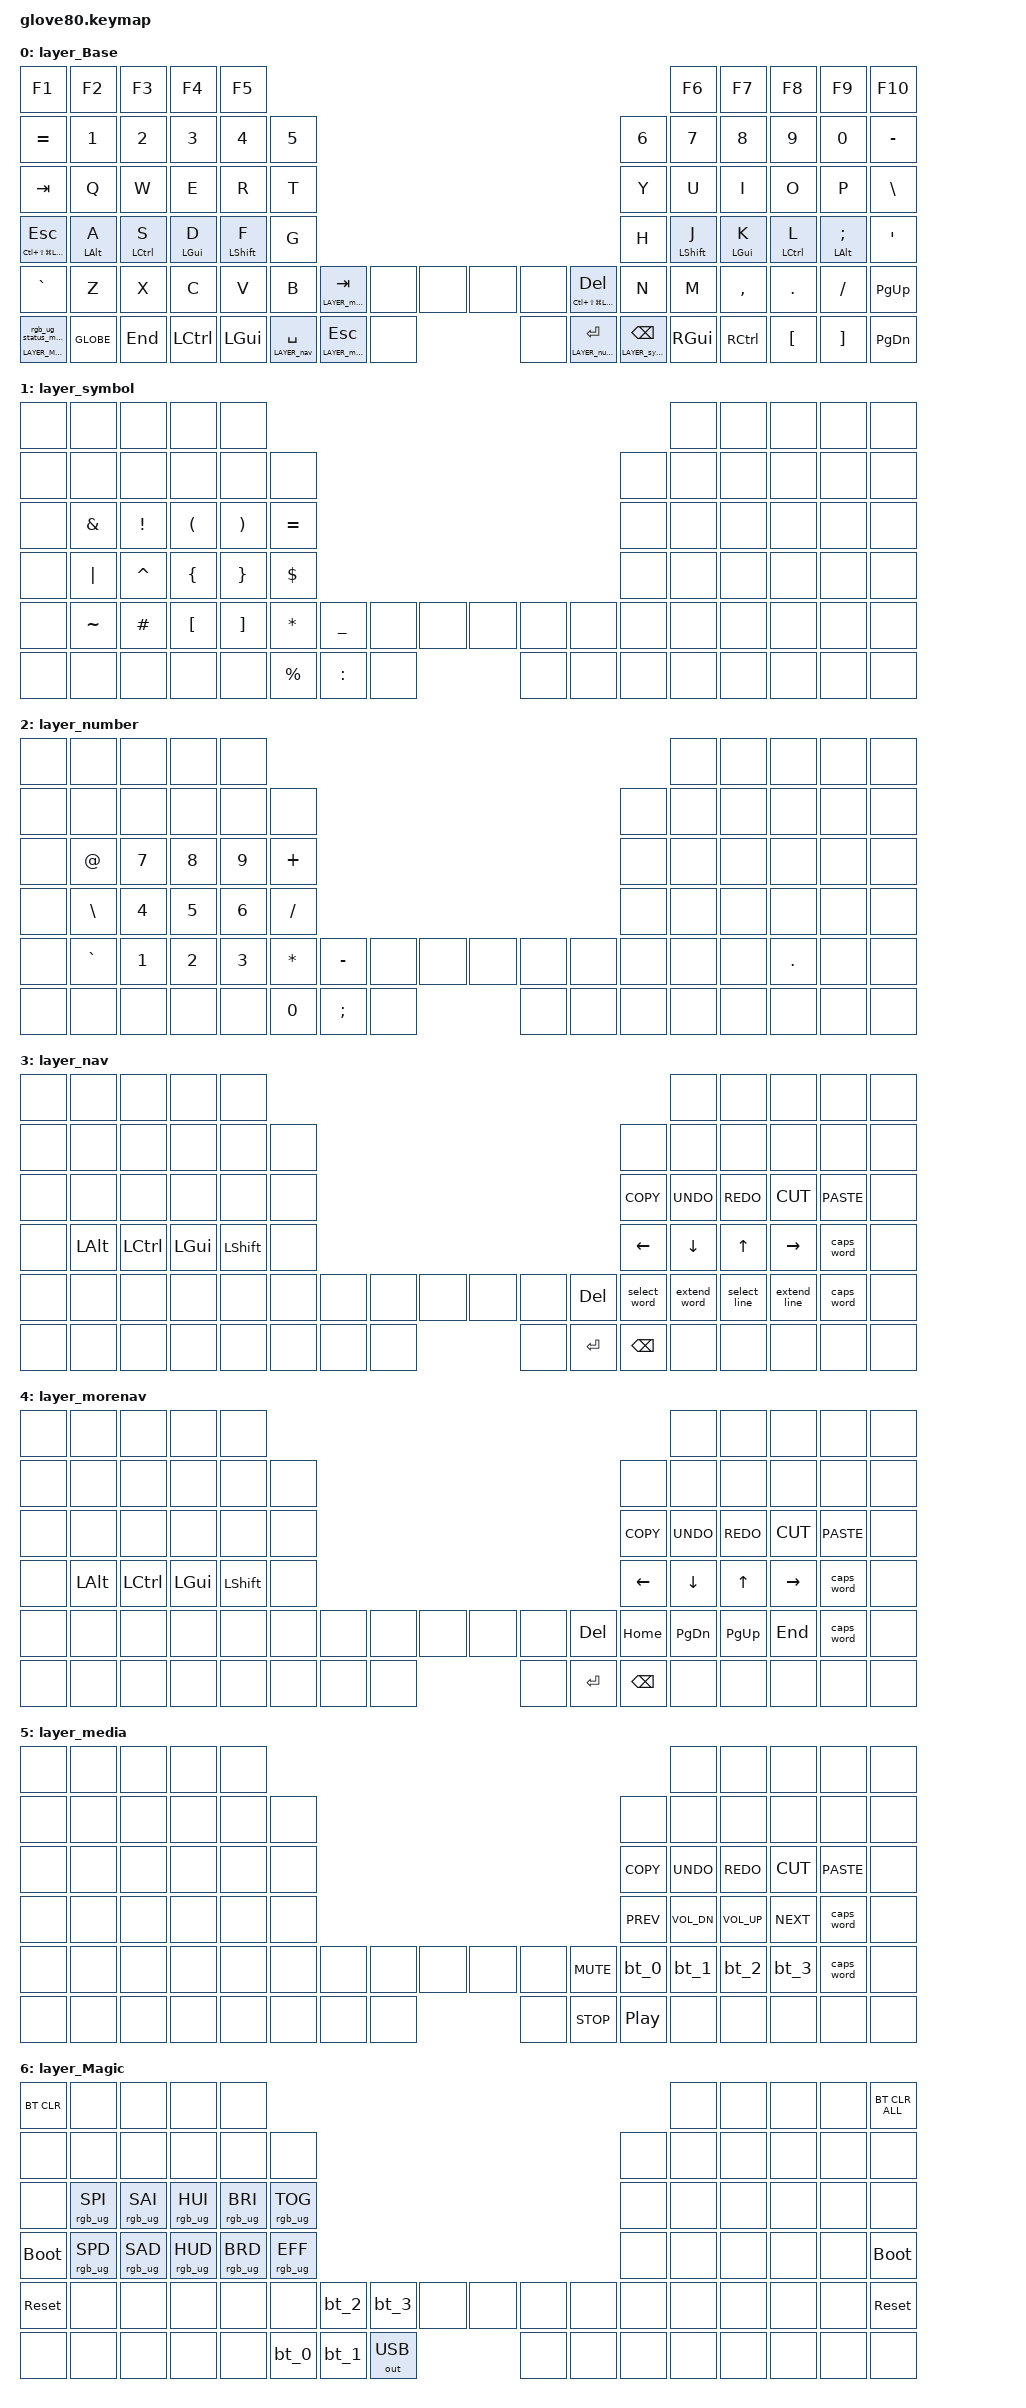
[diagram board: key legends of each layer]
/*
 * Copyright (c) 2020 The ZMK Contributors
 * Copyright (c) 2023 Innaworks Development Limited, trading as MoErgo
 *
 * SPDX-License-Identifier: MIT
 */


/* THIS FILE WAS GENERATED BY GLOVE80 LAYOUT EDITOR
 *
 * This file was generated automatically. You may or may not want to
 * edit it directly.
 */

#include <behaviors.dtsi>
/* Include all behavior includes needed */
#include <dt-bindings/zmk/outputs.h>
#include <dt-bindings/zmk/keys.h>
#include <dt-bindings/zmk/bt.h>
#include <dt-bindings/zmk/rgb.h>

/* Automatically generated layer name #define */
#define LAYER_Base 0
#define LAYER_symbol 1
#define LAYER_number 2
#define LAYER_nav 3
#define LAYER_morenav 4
#define LAYER_media 5
#define LAYER_Magic 6

/* To deal with the situation where there is no Lower layer, to keep &lower happy */
#ifndef LAYER_Lower
#define LAYER_Lower 0
#endif

/* Custom Device-tree */



/* Glove80 system behavior & macros */
/ {
    behaviors {
        // For the "layer" key, it'd nice to be able to use it as either a shift or a toggle.
        // Configure it as a tap dance, so the first tap (or hold) is a &mo and the second tap is a &to
        lower: lower {
            compatible = "zmk,behavior-tap-dance";
            label = "LAYER_TAP_DANCE";
            #binding-cells = <0>;
            tapping-term-ms = <200>;
            bindings = <&mo LAYER_Lower>, <&to LAYER_Lower>;
        };
    };
};

/ {
    macros {
        rgb_ug_status_macro: rgb_ug_status_macro {
            label = "RGB_UG_STATUS";
            compatible = "zmk,behavior-macro";
            #binding-cells = <0>;
            bindings
                = <&rgb_ug RGB_STATUS>;
        };
    };
};


/ {
#ifdef BT_DISC_CMD
    behaviors {
        bt_0: bt_0 {
            compatible = "zmk,behavior-tap-dance";
            label = "BT_0";
            #binding-cells = <0>;
            tapping-term-ms = <200>;
            bindings = <&bt_select_0>, <&bt BT_DISC 0>;
        };
        bt_1: bt_1 {
            compatible = "zmk,behavior-tap-dance";
            label = "BT_1";
            #binding-cells = <0>;
            tapping-term-ms = <200>;
            bindings = <&bt_select_1>, <&bt BT_DISC 1>;
        };
        bt_2: bt_2 {
            compatible = "zmk,behavior-tap-dance";
            label = "BT_2";
            #binding-cells = <0>;
            tapping-term-ms = <200>;
            bindings = <&bt_select_2>, <&bt BT_DISC 2>;
        };
        bt_3: bt_3 {
            compatible = "zmk,behavior-tap-dance";
            label = "BT_3";
            #binding-cells = <0>;
            tapping-term-ms = <200>;
            bindings = <&bt_select_3>, <&bt BT_DISC 3>;
        };
    };
    macros {
        bt_select_0: bt_select_0 {
            label = "BT_SELECT_0";
            compatible = "zmk,behavior-macro";
            #binding-cells = <0>;
            bindings
                = <&out OUT_BLE>,
                  <&bt BT_SEL 0>;
        };
        bt_select_1: bt_select_1 {
            label = "BT_SELECT_1";
            compatible = "zmk,behavior-macro";
            #binding-cells = <0>;
            bindings
                = <&out OUT_BLE>,
                  <&bt BT_SEL 1>;
        };
        bt_select_2: bt_select_2 {
            label = "BT_SELECT_2";
            compatible = "zmk,behavior-macro";
            #binding-cells = <0>;
            bindings
                = <&out OUT_BLE>,
                  <&bt BT_SEL 2>;
        };
        bt_select_3: bt_select_3 {
            label = "BT_SELECT_3";
            compatible = "zmk,behavior-macro";
            #binding-cells = <0>;
            bindings
                = <&out OUT_BLE>,
                  <&bt BT_SEL 3>;
        };
    };
#else
    macros {
        bt_0: bt_0 {
            label = "BT_0";
            compatible = "zmk,behavior-macro";
            #binding-cells = <0>;
            bindings
                = <&out OUT_BLE>,
                  <&bt BT_SEL 0>;
        };
        bt_1: bt_1 {
            label = "BT_1";
            compatible = "zmk,behavior-macro";
            #binding-cells = <0>;
            bindings
                = <&out OUT_BLE>,
                  <&bt BT_SEL 1>;
        };
        bt_2: bt_2 {
            label = "BT_2";
            compatible = "zmk,behavior-macro";
            #binding-cells = <0>;
            bindings
                = <&out OUT_BLE>,
                  <&bt BT_SEL 2>;
        };
        bt_3: bt_3 {
            label = "BT_3";
            compatible = "zmk,behavior-macro";
            #binding-cells = <0>;
            bindings
                = <&out OUT_BLE>,
                  <&bt BT_SEL 3>;
        };
    };
#endif
};

/ {
    behaviors {
        magic: magic {
            compatible = "zmk,behavior-hold-tap";
            label = "MAGIC_HOLD_TAP";
            #binding-cells = <2>;
            flavor = "tap-preferred";
            tapping-term-ms = <200>;
            bindings = <&mo>, <&rgb_ug_status_macro>;
        };
    };
};

/* #define for key positions */
#define POS_LH_T1 52
#define POS_LH_T2 53
#define POS_LH_T3 54
#define POS_LH_T4 69
#define POS_LH_T5 70
#define POS_LH_T6 71
#define POS_LH_C1R2 15
#define POS_LH_C1R3 27
#define POS_LH_C1R4 39
#define POS_LH_C1R5 51
#define POS_LH_C2R1 4
#define POS_LH_C2R2 14
#define POS_LH_C2R3 26
#define POS_LH_C2R4 38
#define POS_LH_C2R5 50
#define POS_LH_C2R6 68
#define POS_LH_C3R1 3
#define POS_LH_C3R2 13
#define POS_LH_C3R3 25
#define POS_LH_C3R4 37
#define POS_LH_C3R5 49
#define POS_LH_C3R6 67
#define POS_LH_C4R1 2
#define POS_LH_C4R2 12
#define POS_LH_C4R3 24
#define POS_LH_C4R4 36
#define POS_LH_C4R5 48
#define POS_LH_C4R6 66
#define POS_LH_C5R1 1
#define POS_LH_C5R2 11
#define POS_LH_C5R3 23
#define POS_LH_C5R4 35
#define POS_LH_C5R5 47
#define POS_LH_C5R6 65
#define POS_LH_C6R1 0
#define POS_LH_C6R2 10
#define POS_LH_C6R3 22
#define POS_LH_C6R4 34
#define POS_LH_C6R5 46
#define POS_LH_C6R6 64
#define POS_RH_T1 57
#define POS_RH_T2 56
#define POS_RH_T3 55
#define POS_RH_T4 74
#define POS_RH_T5 73
#define POS_RH_T6 72
#define POS_RH_C1R2 16
#define POS_RH_C1R3 28
#define POS_RH_C1R4 40
#define POS_RH_C1R5 58
#define POS_RH_C2R1 5
#define POS_RH_C2R2 17
#define POS_RH_C2R3 29
#define POS_RH_C2R4 41
#define POS_RH_C2R5 59
#define POS_RH_C2R6 75
#define POS_RH_C3R1 6
#define POS_RH_C3R2 18
#define POS_RH_C3R3 30
#define POS_RH_C3R4 42
#define POS_RH_C3R5 60
#define POS_RH_C3R6 76
#define POS_RH_C4R1 7
#define POS_RH_C4R2 19
#define POS_RH_C4R3 31
#define POS_RH_C4R4 43
#define POS_RH_C4R5 61
#define POS_RH_C4R6 77
#define POS_RH_C5R1 8
#define POS_RH_C5R2 20
#define POS_RH_C5R3 32
#define POS_RH_C5R4 44
#define POS_RH_C5R5 62
#define POS_RH_C5R6 78
#define POS_RH_C6R1 9
#define POS_RH_C6R2 21
#define POS_RH_C6R3 33
#define POS_RH_C6R4 45
#define POS_RH_C6R5 63
#define POS_RH_C6R6 79

/* Custom Defined Behaviors */
/ {
#define HYPER LC(LS(LG(LALT)))

// NOTE: Use the `#define` settings below to customize this keymap!
// For example, here are the main optional features you can enable:
// #define DIFFICULTY_LEVEL  4 // 0:custom, 1:easy -> 5:hard (see below)
// TIP: Add more setting overrides here instead of editing them below.

//////////////////////////////////////////////////////////////////////////////
//
// Advanced Home Row Mods (HRM) Example based on
// Sunaku's Keymap v35 -- "Glorious Engrammer"
// - https://github.com/sunaku/glove80-keymaps
//
//////////////////////////////////////////////////////////////////////////////

//
// DIFFICULTY_LEVEL specifies your level of expertise with this keymap.
// It's meant to help newcomers gradually work their way up to mastery.
// You can disable this setting by omitting it or assigning a `0` zero.
//
// #define DIFFICULTY_LEVEL 0 // custom (see defaults below)
// #define DIFFICULTY_LEVEL 1 // novice (500ms)
// #define DIFFICULTY_LEVEL 2 // slower (400ms)
// #define DIFFICULTY_LEVEL 3 // normal (300ms)
// #define DIFFICULTY_LEVEL 4 // faster (200ms)
// #define DIFFICULTY_LEVEL 5 // expert (100ms)
//
// #if defined(DIFFICULTY_LEVEL) && DIFFICULTY_LEVEL > 0
// #define DIFFICULTY_THRESHOLD ((6-DIFFICULTY_LEVEL)*100)
// #ifndef HOMEY_HOLDING_TIME
// #define HOMEY_HOLDING_TIME DIFFICULTY_THRESHOLD
// #endif
// #ifndef INDEX_HOLDING_TIME
// #define INDEX_HOLDING_TIME DIFFICULTY_THRESHOLD
// #endif
// #endif

behaviors {

    //////////////////////////////////////////////////////////////////////////
    //
    // Miryoku layers and home row mods (ported from my QMK endgame)
    // - https://sunaku.github.io/home-row-mods.html#porting-to-zmk
    // - https://github.com/urob/zmk-config#timeless-homerow-mods
    //
    //////////////////////////////////////////////////////////////////////////

    //
    // HOMEY_HOLDING_TYPE defines the flavor of ZMK hold-tap behavior to use
    // for the pinky, ring, and middle fingers (which are assigned to Super,
    // Alt, and Ctrl respectively in the Miryoku system) on home row keys.
    //
    #ifndef HOMEY_HOLDING_TYPE
    #define HOMEY_HOLDING_TYPE "tap-preferred"
    #endif

    //
    // HOMEY_HOLDING_TIME defines how long you need to hold (milliseconds)
    // home row mod keys in order to send their modifiers to the computer
    // (i.e. "register" them) for mod-click mouse usage (e.g. Ctrl-Click).
    //
    #ifndef HOMEY_HOLDING_TIME
    #define HOMEY_HOLDING_TIME 270 // TAPPING_TERM + ALLOW_CROSSOVER_AFTER
    #endif

    //
    // HOMEY_STREAK_DECAY defines how long you need to wait (milliseconds)
    // after typing before you can use home row mods again.  It prevents
    // unintended activation of home row mods when you're actively typing.
    //
    #ifndef HOMEY_STREAK_DECAY
    #define HOMEY_STREAK_DECAY 250
    #endif

    //
    // HOMEY_REPEAT_DECAY defines how much time you have left (milliseconds)
    // after tapping a key to hold it again in order to make it auto-repeat.
    //
    #ifndef HOMEY_REPEAT_DECAY
    #define HOMEY_REPEAT_DECAY 300 // "tap then hold" for key auto-repeat
    #endif

    //
    // INDEX_HOLDING_TYPE defines the flavor of ZMK hold-tap behavior to use
    // for index fingers (which Miryoku assigns to Shift) on home row keys.
    //
    #ifndef INDEX_HOLDING_TYPE
    #define INDEX_HOLDING_TYPE "tap-preferred"
    #endif

    //
    // INDEX_HOLDING_TIME defines how long you need to hold (milliseconds)
    // index finger keys in order to send their modifiers to the computer
    // (i.e. "register" them) for mod-click mouse usage (e.g. Shift-Click).
    //
    #ifndef INDEX_HOLDING_TIME
    #define INDEX_HOLDING_TIME 170
    #endif

    //
    // INDEX_STREAK_DECAY defines how long you need to wait (milliseconds)
    // after typing before you can use home row mods again.  It prevents
    // unintended activation of home row mods when you're actively typing.
    //
    #ifndef INDEX_STREAK_DECAY
    #define INDEX_STREAK_DECAY 150
    #endif

    //
    // INDEX_REPEAT_DECAY defines how much time you have left (milliseconds)
    // after tapping a key to hold it again in order to make it auto-repeat.
    //
    #ifndef INDEX_REPEAT_DECAY
    #define INDEX_REPEAT_DECAY 300 // "tap then hold" for key auto-repeat
    #endif

    //
    // THUMB_HOLDING_TYPE defines the flavor of ZMK hold-tap behavior to use
    // for the thumbs (which are assigned to 6 layers in the Miryoku system).
    //
    // NOTE: The "balanced" flavor of ZMK hold-tap provides instant modifier
    // activation for the symbol layer (if the tapped symbol key is released
    // while the thumb layer key is still held down) for quicker programming.
    //
    #ifndef THUMB_HOLDING_TYPE
    #define THUMB_HOLDING_TYPE "balanced"
    #endif

    //
    // THUMB_HOLDING_TIME defines how long you need to hold (milliseconds)
    // a thumb key to activate a layer.  Shorter holds are treated as taps.
    //
    #ifndef THUMB_HOLDING_TIME
    #define THUMB_HOLDING_TIME 200
    #endif

    //
    // THUMB_REPEAT_DECAY defines how much time you have left (milliseconds)
    // after tapping a key to hold it again in order to make it auto-repeat.
    //
    #ifndef THUMB_REPEAT_DECAY
    #define THUMB_REPEAT_DECAY 300 // "tap then hold" for key auto-repeat
    #endif

    //
    // SPACE_HOLDING_TYPE defines the flavor of ZMK hold-tap behavior to use
    // for spacebar (assigned to the right thumb's home position by default).
    //
    // NOTE: The "balanced" flavor of ZMK hold-tap provides instant modifier
    // activation for the symbol layer (if the tapped symbol key is released
    // while the thumb layer key is still held down) for quicker programming.
    //
    #ifndef SPACE_HOLDING_TYPE
    #define SPACE_HOLDING_TYPE THUMB_HOLDING_TYPE
    #endif

    //
    // SPACE_HOLDING_TIME defines how long you need to hold (milliseconds)
    // the space thumb key to activate.  Shorter holds are treated as taps.
    //
    #ifndef SPACE_HOLDING_TIME
    #define SPACE_HOLDING_TIME THUMB_HOLDING_TIME
    #endif

    //
    // SPACE_REPEAT_DECAY defines how much time you have left (milliseconds)
    // after tapping a key to hold it again in order to make it auto-repeat.
    //
    #ifndef SPACE_REPEAT_DECAY
    #define SPACE_REPEAT_DECAY 175
    #endif


    //
    // Glove80 key positions index for positional hold-tap
    // - https://discord.com/channels/877392805654306816/937645688244826154/1066713913351221248
    // - https://media.discordapp.net/attachments/937645688244826154/1066713913133121556/image.png
    //
    // |------------------------|------------------------|
    // | LEFT_HAND_KEYS         |        RIGHT_HAND_KEYS |
    // |                        |                        |
    // |  0  1  2  3  4         |          5  6  7  8  9 |
    // | 10 11 12 13 14 15      |      16 17 18 19 20 21 |
    // | 22 23 24 25 26 27      |      28 29 30 31 32 33 |
    // | 34 35 36 37 38 39      |      40 41 42 43 44 45 |
    // | 46 47 48 49 50 51      |      58 59 60 61 62 63 |
    // | 64 65 66 67 68         |         75 76 77 78 79 |
    // |                69 52   |   57 74                |
    // |                 70 53  |  56 73                 |
    // |                  71 54 | 55 72                  |
    // |------------------------|------------------------|
    //
    #define LEFT_HAND_KEYS      \
          0  1  2  3  4         \
         10 11 12 13 14 15      \
         22 23 24 25 26 27      \
         34 35 36 37 38 39      \
         46 47 48 49 50 51      \
         64 65 66 67 68
    #define RIGHT_HAND_KEYS     \
                                           5  6  7  8  9 \
                                       16 17 18 19 20 21 \
                                       28 29 30 31 32 33 \
                                       40 41 42 43 44 45 \
                                       58 59 60 61 62 63 \
                                          75 76 77 78 79
    #define THUMB_KEYS          \
                        69 52       57 74                \
                         70 53     56 73                 \
                          71 54   55 72

    //
    // Home row mods with per-finger configuration settings
    //
    #ifndef PINKY_HOLDING_TYPE
    #define PINKY_HOLDING_TYPE HOMEY_HOLDING_TYPE
    #endif
    #ifndef PINKY_HOLDING_TIME
    #define PINKY_HOLDING_TIME HOMEY_HOLDING_TIME
    #endif
    #ifndef PINKY_STREAK_DECAY
    #define PINKY_STREAK_DECAY HOMEY_STREAK_DECAY
    #endif
    #ifndef PINKY_REPEAT_DECAY
    #define PINKY_REPEAT_DECAY HOMEY_REPEAT_DECAY
    #endif
    #ifndef RING1_HOLDING_TYPE
    #define RING1_HOLDING_TYPE HOMEY_HOLDING_TYPE
    #endif
    #ifndef RING1_HOLDING_TIME
    #define RING1_HOLDING_TIME HOMEY_HOLDING_TIME
    #endif
    #ifndef RING1_STREAK_DECAY
    #define RING1_STREAK_DECAY HOMEY_STREAK_DECAY
    #endif
    #ifndef RING1_REPEAT_DECAY
    #define RING1_REPEAT_DECAY HOMEY_REPEAT_DECAY
    #endif
    #ifndef RING2_HOLDING_TYPE
    #define RING2_HOLDING_TYPE HOMEY_HOLDING_TYPE
    #endif
    #ifndef RING2_HOLDING_TIME
    #define RING2_HOLDING_TIME HOMEY_HOLDING_TIME
    #endif
    #ifndef RING2_STREAK_DECAY
    #define RING2_STREAK_DECAY HOMEY_STREAK_DECAY
    #endif
    #ifndef RING2_REPEAT_DECAY
    #define RING2_REPEAT_DECAY HOMEY_REPEAT_DECAY
    #endif
    #ifndef MIDDY_HOLDING_TYPE
    #define MIDDY_HOLDING_TYPE HOMEY_HOLDING_TYPE
    #endif
    #ifndef MIDDY_HOLDING_TIME
    #define MIDDY_HOLDING_TIME HOMEY_HOLDING_TIME
    #endif
    #ifndef MIDDY_STREAK_DECAY
    #define MIDDY_STREAK_DECAY HOMEY_STREAK_DECAY
    #endif
    #ifndef MIDDY_REPEAT_DECAY
    #define MIDDY_REPEAT_DECAY HOMEY_REPEAT_DECAY
    #endif
    #ifndef INDEX_HOLDING_TYPE
    #define INDEX_HOLDING_TYPE HOMEY_HOLDING_TYPE
    #endif
    #ifndef INDEX_HOLDING_TIME
    #define INDEX_HOLDING_TIME HOMEY_HOLDING_TIME
    #endif
    #ifndef INDEX_STREAK_DECAY
    #define INDEX_STREAK_DECAY HOMEY_STREAK_DECAY
    #endif
    #ifndef INDEX_REPEAT_DECAY
    #define INDEX_REPEAT_DECAY HOMEY_REPEAT_DECAY
    #endif
    #ifndef LEFT_PINKY_HOLDING_TYPE
    #define LEFT_PINKY_HOLDING_TYPE PINKY_HOLDING_TYPE
    #endif
    #ifndef LEFT_PINKY_HOLDING_TIME
    #define LEFT_PINKY_HOLDING_TIME PINKY_HOLDING_TIME
    #endif
    #ifndef LEFT_PINKY_STREAK_DECAY
    #define LEFT_PINKY_STREAK_DECAY PINKY_STREAK_DECAY
    #endif
    #ifndef LEFT_PINKY_REPEAT_DECAY
    #define LEFT_PINKY_REPEAT_DECAY PINKY_REPEAT_DECAY
    #endif
    left_pinky: homey_left_pinky {
        compatible = "zmk,behavior-hold-tap";
        flavor = LEFT_PINKY_HOLDING_TYPE;
        hold-trigger-key-positions = <RIGHT_HAND_KEYS THUMB_KEYS>;
        hold-trigger-on-release; // wait for other home row mods
        tapping-term-ms = <LEFT_PINKY_HOLDING_TIME>;
        quick-tap-ms = <LEFT_PINKY_REPEAT_DECAY>;
        require-prior-idle-ms = <LEFT_PINKY_STREAK_DECAY>;
        #binding-cells = <2>;
        bindings = <&kp>, <&kp>;
    };
    #ifndef RIGHT_PINKY_HOLDING_TYPE
    #define RIGHT_PINKY_HOLDING_TYPE PINKY_HOLDING_TYPE
    #endif
    #ifndef RIGHT_PINKY_HOLDING_TIME
    #define RIGHT_PINKY_HOLDING_TIME PINKY_HOLDING_TIME
    #endif
    #ifndef RIGHT_PINKY_STREAK_DECAY
    #define RIGHT_PINKY_STREAK_DECAY PINKY_STREAK_DECAY
    #endif
    #ifndef RIGHT_PINKY_REPEAT_DECAY
    #define RIGHT_PINKY_REPEAT_DECAY PINKY_REPEAT_DECAY
    #endif
    right_pinky: homey_right_pinky {
        compatible = "zmk,behavior-hold-tap";
        flavor = RIGHT_PINKY_HOLDING_TYPE;
        hold-trigger-key-positions = <LEFT_HAND_KEYS THUMB_KEYS>;
        hold-trigger-on-release; // wait for other home row mods
        tapping-term-ms = <RIGHT_PINKY_HOLDING_TIME>;
        quick-tap-ms = <RIGHT_PINKY_REPEAT_DECAY>;
        require-prior-idle-ms = <RIGHT_PINKY_STREAK_DECAY>;
        #binding-cells = <2>;
        bindings = <&kp>, <&kp>;
    };
    #ifndef LEFT_RING1_HOLDING_TYPE
    #define LEFT_RING1_HOLDING_TYPE RING1_HOLDING_TYPE
    #endif
    #ifndef LEFT_RING1_HOLDING_TIME
    #define LEFT_RING1_HOLDING_TIME RING1_HOLDING_TIME
    #endif
    #ifndef LEFT_RING1_STREAK_DECAY
    #define LEFT_RING1_STREAK_DECAY RING1_STREAK_DECAY
    #endif
    #ifndef LEFT_RING1_REPEAT_DECAY
    #define LEFT_RING1_REPEAT_DECAY RING1_REPEAT_DECAY
    #endif
    left_ring1: homey_left_ring1 {
        compatible = "zmk,behavior-hold-tap";
        flavor = LEFT_RING1_HOLDING_TYPE;
        hold-trigger-key-positions = <RIGHT_HAND_KEYS THUMB_KEYS>;
        hold-trigger-on-release; // wait for other home row mods
        tapping-term-ms = <LEFT_RING1_HOLDING_TIME>;
        quick-tap-ms = <LEFT_RING1_REPEAT_DECAY>;
        require-prior-idle-ms = <LEFT_RING1_STREAK_DECAY>;
        #binding-cells = <2>;
        bindings = <&kp>, <&kp>;
    };
    #ifndef RIGHT_RING1_HOLDING_TYPE
    #define RIGHT_RING1_HOLDING_TYPE RING1_HOLDING_TYPE
    #endif
    #ifndef RIGHT_RING1_HOLDING_TIME
    #define RIGHT_RING1_HOLDING_TIME RING1_HOLDING_TIME
    #endif
    #ifndef RIGHT_RING1_STREAK_DECAY
    #define RIGHT_RING1_STREAK_DECAY RING1_STREAK_DECAY
    #endif
    #ifndef RIGHT_RING1_REPEAT_DECAY
    #define RIGHT_RING1_REPEAT_DECAY RING1_REPEAT_DECAY
    #endif
    right_ring1: homey_right_ring1 {
        compatible = "zmk,behavior-hold-tap";
        flavor = RIGHT_RING1_HOLDING_TYPE;
        hold-trigger-key-positions = <LEFT_HAND_KEYS THUMB_KEYS>;
        hold-trigger-on-release; // wait for other home row mods
        tapping-term-ms = <RIGHT_RING1_HOLDING_TIME>;
        quick-tap-ms = <RIGHT_RING1_REPEAT_DECAY>;
        require-prior-idle-ms = <RIGHT_RING1_STREAK_DECAY>;
        #binding-cells = <2>;
        bindings = <&kp>, <&kp>;
    };
    #ifndef LEFT_RING2_HOLDING_TYPE
    #define LEFT_RING2_HOLDING_TYPE RING2_HOLDING_TYPE
    #endif
    #ifndef LEFT_RING2_HOLDING_TIME
    #define LEFT_RING2_HOLDING_TIME RING2_HOLDING_TIME
    #endif
    #ifndef LEFT_RING2_STREAK_DECAY
    #define LEFT_RING2_STREAK_DECAY RING2_STREAK_DECAY
    #endif
    #ifndef LEFT_RING2_REPEAT_DECAY
    #define LEFT_RING2_REPEAT_DECAY RING2_REPEAT_DECAY
    #endif
    left_ring2: homey_left_ring2 {
        compatible = "zmk,behavior-hold-tap";
        flavor = LEFT_RING2_HOLDING_TYPE;
        hold-trigger-key-positions = <RIGHT_HAND_KEYS THUMB_KEYS>;
        hold-trigger-on-release; // wait for other home row mods
        tapping-term-ms = <LEFT_RING2_HOLDING_TIME>;
        quick-tap-ms = <LEFT_RING2_REPEAT_DECAY>;
        require-prior-idle-ms = <LEFT_RING2_STREAK_DECAY>;
        #binding-cells = <2>;
        bindings = <&kp>, <&kp>;
    };
    #ifndef RIGHT_RING2_HOLDING_TYPE
    #define RIGHT_RING2_HOLDING_TYPE RING2_HOLDING_TYPE
    #endif
    #ifndef RIGHT_RING2_HOLDING_TIME
    #define RIGHT_RING2_HOLDING_TIME RING2_HOLDING_TIME
    #endif
    #ifndef RIGHT_RING2_STREAK_DECAY
    #define RIGHT_RING2_STREAK_DECAY RING2_STREAK_DECAY
    #endif
    #ifndef RIGHT_RING2_REPEAT_DECAY
    #define RIGHT_RING2_REPEAT_DECAY RING2_REPEAT_DECAY
    #endif
    right_ring2: homey_right_ring2 {
        compatible = "zmk,behavior-hold-tap";
        flavor = RIGHT_RING2_HOLDING_TYPE;
        hold-trigger-key-positions = <LEFT_HAND_KEYS THUMB_KEYS>;
        hold-trigger-on-release; // wait for other home row mods
        tapping-term-ms = <RIGHT_RING2_HOLDING_TIME>;
        quick-tap-ms = <RIGHT_RING2_REPEAT_DECAY>;
        require-prior-idle-ms = <RIGHT_RING2_STREAK_DECAY>;
        #binding-cells = <2>;
        bindings = <&kp>, <&kp>;
    };
    #ifndef LEFT_MIDDY_HOLDING_TYPE
    #define LEFT_MIDDY_HOLDING_TYPE MIDDY_HOLDING_TYPE
    #endif
    #ifndef LEFT_MIDDY_HOLDING_TIME
    #define LEFT_MIDDY_HOLDING_TIME MIDDY_HOLDING_TIME
    #endif
    #ifndef LEFT_MIDDY_STREAK_DECAY
    #define LEFT_MIDDY_STREAK_DECAY MIDDY_STREAK_DECAY
    #endif
    #ifndef LEFT_MIDDY_REPEAT_DECAY
    #define LEFT_MIDDY_REPEAT_DECAY MIDDY_REPEAT_DECAY
    #endif
    left_middy: homey_left_middy {
        compatible = "zmk,behavior-hold-tap";
        flavor = LEFT_MIDDY_HOLDING_TYPE;
        hold-trigger-key-positions = <RIGHT_HAND_KEYS THUMB_KEYS>;
        hold-trigger-on-release; // wait for other home row mods
        tapping-term-ms = <LEFT_MIDDY_HOLDING_TIME>;
        quick-tap-ms = <LEFT_MIDDY_REPEAT_DECAY>;
        require-prior-idle-ms = <LEFT_MIDDY_STREAK_DECAY>;
        #binding-cells = <2>;
        bindings = <&kp>, <&kp>;
    };
    #ifndef RIGHT_MIDDY_HOLDING_TYPE
    #define RIGHT_MIDDY_HOLDING_TYPE MIDDY_HOLDING_TYPE
    #endif
    #ifndef RIGHT_MIDDY_HOLDING_TIME
    #define RIGHT_MIDDY_HOLDING_TIME MIDDY_HOLDING_TIME
    #endif
    #ifndef RIGHT_MIDDY_STREAK_DECAY
    #define RIGHT_MIDDY_STREAK_DECAY MIDDY_STREAK_DECAY
    #endif
    #ifndef RIGHT_MIDDY_REPEAT_DECAY
    #define RIGHT_MIDDY_REPEAT_DECAY MIDDY_REPEAT_DECAY
    #endif
    right_middy: homey_right_middy {
        compatible = "zmk,behavior-hold-tap";
        flavor = RIGHT_MIDDY_HOLDING_TYPE;
        hold-trigger-key-positions = <LEFT_HAND_KEYS THUMB_KEYS>;
        hold-trigger-on-release; // wait for other home row mods
        tapping-term-ms = <RIGHT_MIDDY_HOLDING_TIME>;
        quick-tap-ms = <RIGHT_MIDDY_REPEAT_DECAY>;
        require-prior-idle-ms = <RIGHT_MIDDY_STREAK_DECAY>;
        #binding-cells = <2>;
        bindings = <&kp>, <&kp>;
    };
    #ifndef LEFT_INDEX_HOLDING_TYPE
    #define LEFT_INDEX_HOLDING_TYPE INDEX_HOLDING_TYPE
    #endif
    #ifndef LEFT_INDEX_HOLDING_TIME
    #define LEFT_INDEX_HOLDING_TIME INDEX_HOLDING_TIME
    #endif
    #ifndef LEFT_INDEX_STREAK_DECAY
    #define LEFT_INDEX_STREAK_DECAY INDEX_STREAK_DECAY
    #endif
    #ifndef LEFT_INDEX_REPEAT_DECAY
    #define LEFT_INDEX_REPEAT_DECAY INDEX_REPEAT_DECAY
    #endif
    left_index: homey_left_index {
        compatible = "zmk,behavior-hold-tap";
        flavor = LEFT_INDEX_HOLDING_TYPE;
        hold-trigger-key-positions = <RIGHT_HAND_KEYS THUMB_KEYS>;
        hold-trigger-on-release; // wait for other home row mods
        tapping-term-ms = <LEFT_INDEX_HOLDING_TIME>;
        quick-tap-ms = <LEFT_INDEX_REPEAT_DECAY>;
        require-prior-idle-ms = <LEFT_INDEX_STREAK_DECAY>;
        #binding-cells = <2>;
        bindings = <&kp>, <&kp>;
    };
    #ifndef RIGHT_INDEX_HOLDING_TYPE
    #define RIGHT_INDEX_HOLDING_TYPE INDEX_HOLDING_TYPE
    #endif
    #ifndef RIGHT_INDEX_HOLDING_TIME
    #define RIGHT_INDEX_HOLDING_TIME INDEX_HOLDING_TIME
    #endif
    #ifndef RIGHT_INDEX_STREAK_DECAY
    #define RIGHT_INDEX_STREAK_DECAY INDEX_STREAK_DECAY
    #endif
    #ifndef RIGHT_INDEX_REPEAT_DECAY
    #define RIGHT_INDEX_REPEAT_DECAY INDEX_REPEAT_DECAY
    #endif
    right_index: homey_right_index {
        compatible = "zmk,behavior-hold-tap";
        flavor = RIGHT_INDEX_HOLDING_TYPE;
        hold-trigger-key-positions = <LEFT_HAND_KEYS THUMB_KEYS>;
        hold-trigger-on-release; // wait for other home row mods
        tapping-term-ms = <RIGHT_INDEX_HOLDING_TIME>;
        quick-tap-ms = <RIGHT_INDEX_REPEAT_DECAY>;
        require-prior-idle-ms = <RIGHT_INDEX_STREAK_DECAY>;
        #binding-cells = <2>;
        bindings = <&kp>, <&kp>;
    };

    //
    // Thumb cluster hold-tap keys for Miryoku layers
    //
    thumb: thumb_layer_access {
        compatible = "zmk,behavior-hold-tap";
        flavor = THUMB_HOLDING_TYPE;
        tapping-term-ms = <THUMB_HOLDING_TIME>;
        quick-tap-ms = <THUMB_REPEAT_DECAY>; // enable repeat
        #binding-cells = <2>;
        bindings = <&mo>, <&kp>;
    };
    thumb_space: thumb_layer_access_spacebar {
        compatible = "zmk,behavior-hold-tap";
        flavor = SPACE_HOLDING_TYPE;
        tapping-term-ms = <SPACE_HOLDING_TIME>;
        quick-tap-ms = <SPACE_REPEAT_DECAY>; // enable repeat
        #binding-cells = <2>;
        bindings = <&mo>, <&kp>;
    };
};

macros {
    //////////////////////////////////////////////////////////////////////////
    //
    // Approximation of Pascal Getreuer's Select Word macro from QMK
    // - https://getreuer.info/posts/keyboards/select-word/index.html
    //
    //////////////////////////////////////////////////////////////////////////

    //
    // delay (in milliseconds) to wait between keypresses in the macros
    //
    #ifndef SELECT_WORD_WAIT
    #define SELECT_WORD_WAIT 1
    #endif

    //
    // delay (in milliseconds) to keep a keypress held down before releasing it
    //
    #ifndef SELECT_WORD_TAP
    #define SELECT_WORD_TAP 1
    #endif

    //
    // select a word (jumps to next word upon each successive invocation)
    // normal press goes to the right, press with shift to go to the left
    //
    select_word: select_word {
        compatible = "zmk,behavior-mod-morph";
        #binding-cells = <0>;
        bindings = <&select_word_right>, <&select_word_left>;
        mods = <(MOD_LSFT|MOD_RSFT)>;
    };
    ZMK_MACRO(select_word_right,
        wait-ms = <SELECT_WORD_WAIT>;
        tap-ms = <SELECT_WORD_TAP>;
        bindings = <&kp RIGHT &kp LA(RIGHT) &kp LA(LEFT) &kp LA(LS(RIGHT))>;
    )
    ZMK_MACRO(select_word_left,
        wait-ms = <SELECT_WORD_WAIT>;
        tap-ms = <SELECT_WORD_TAP>;
        bindings = <&kp LEFT &kp LA(LEFT) &kp LA(RIGHT) &kp LA(LS(LEFT))>;
    )

    //
    // extend current selection by one word
    // normal press goes to the right, press with shift to go to the left
    //
    extend_word: extend_word {
        compatible = "zmk,behavior-mod-morph";
        #binding-cells = <0>;
        bindings = <&extend_word_right>, <&extend_word_left>;
        mods = <(MOD_LSFT|MOD_RSFT)>;
    };
    ZMK_MACRO(extend_word_right,
        wait-ms = <SELECT_WORD_WAIT>;
        tap-ms = <SELECT_WORD_TAP>;
        bindings = <&kp LA(LS(RIGHT))>;
    )
    ZMK_MACRO(extend_word_left,
        wait-ms = <SELECT_WORD_WAIT>;
        tap-ms = <SELECT_WORD_TAP>;
        bindings = <&kp LA(LS(LEFT))>;
    )

    //
    // select current line
    // normal press goes down, press with shift to go up
    //
    select_line: select_line {
        compatible = "zmk,behavior-mod-morph";
        #binding-cells = <0>;
        bindings = <&select_line_right>, <&select_line_left>;
        mods = <(MOD_LSFT|MOD_RSFT)>;
    };
    ZMK_MACRO(select_line_right,
        wait-ms = <SELECT_WORD_WAIT>;
        tap-ms = <SELECT_WORD_TAP>;
        bindings = <&kp RIGHT &kp RIGHT &kp LG(LEFT) &kp LS(LG(RIGHT))>;
    )
    ZMK_MACRO(select_line_left,
        wait-ms = <SELECT_WORD_WAIT>;
        tap-ms = <SELECT_WORD_TAP>;
        bindings = <&kp LEFT &kp LEFT &kp LG(RIGHT) &kp LS(LG(LEFT))>;
    )

    //
    // extend current selection by one line
    // normal press goes down, press with shift to go up
    //
    extend_line: extend_line {
        compatible = "zmk,behavior-mod-morph";
        #binding-cells = <0>;
        bindings = <&extend_line_right>, <&extend_line_left>;
        mods = <(MOD_LSFT|MOD_RSFT)>;
    };
    ZMK_MACRO(extend_line_right,
        wait-ms = <SELECT_WORD_WAIT>;
        tap-ms = <SELECT_WORD_TAP>;
        bindings = <&kp LS(DOWN) &kp LS(LG(RIGHT))>;
    )
    ZMK_MACRO(extend_line_left,
        wait-ms = <SELECT_WORD_WAIT>;
        tap-ms = <SELECT_WORD_TAP>;
        bindings = <&kp LS(UP) &kp LS(LG(LEFT))>;
    )
};

};

/* Automatically generated macro definitions */
/ {
    macros {
    
    };
};

/* Automatically generated keymap */
/ {
    keymap {
        compatible = "zmk,keymap";


        layer_Base {
            bindings = <
               &kp F1              &kp F2               &kp F3              &kp F4               &kp F5                                                                                                                                                                  &kp F6               &kp F7                &kp F8                  &kp F9    &kp F10
            &kp EQUAL              &kp N1               &kp N2              &kp N3               &kp N4  &kp N5                                                                                                                                    &kp N6                &kp N7               &kp N8                &kp N9                  &kp N0  &kp MINUS
              &kp TAB               &kp Q                &kp W               &kp E                &kp R   &kp T                                                                                                                                     &kp Y                 &kp U                &kp I                 &kp O                   &kp P   &kp BSLH
        &mt HYPER ESC  &left_pinky LALT A  &left_ring1 LCTRL S  &left_middy LGUI D  &left_index LSHFT F   &kp G                                                                                                                                     &kp H  &right_index LSHFT J  &right_middy LGUI K  &right_ring1 LCTRL L  &right_pinky LALT SEMI    &kp SQT
            &kp GRAVE               &kp Z                &kp X               &kp C                &kp V   &kp B        &thumb LAYER_media TAB                     &none   &none   &none                      &none               &mt HYPER DELETE   &kp N                 &kp M            &kp COMMA               &kp DOT                &kp FSLH  &kp PG_UP
 &magic LAYER_Magic 0           &kp GLOBE              &kp END           &kp LCTRL             &kp LGUI          &thumb_space LAYER_nav SPACE  &thumb LAYER_morenav ESC   &none   &none  &thumb LAYER_number ENTER  &thumb LAYER_symbol BACKSPACE                      &kp RGUI            &kp RCTRL              &kp LBKT                &kp RBKT  &kp PG_DN
            >;
        };

        layer_symbol {
            bindings = <
  &none      &none      &none     &none     &none                                                                            &none   &none   &none   &none   &none
  &none      &none      &none     &none     &none      &none                                                         &none   &none   &none   &none   &none   &none
  &none   &kp AMPS   &kp EXCL  &kp LPAR  &kp RPAR  &kp EQUAL                                                         &none   &none   &none   &none   &none   &none
  &none   &kp PIPE  &kp CARET  &kp LBRC  &kp RBRC   &kp DLLR                                                         &none   &none   &none   &none   &none   &none
  &none  &kp TILDE   &kp HASH  &kp LBKT  &kp RBKT   &kp STAR  &kp UNDER      &none   &none   &none   &none   &none   &none   &none   &none   &none   &none   &none
  &none      &none      &none     &none     &none             &kp PRCNT  &kp COLON   &none   &none   &none   &none           &none   &none   &none   &none   &none
            >;
        };

        layer_number {
            bindings = <
  &none      &none   &none   &none   &none                                                                          &none   &none    &none   &none   &none
  &none      &none   &none   &none   &none     &none                                                        &none   &none   &none    &none   &none   &none
  &none     &kp AT  &kp N7  &kp N8  &kp N9  &kp PLUS                                                        &none   &none   &none    &none   &none   &none
  &none   &kp BSLH  &kp N4  &kp N5  &kp N6  &kp FSLH                                                        &none   &none   &none    &none   &none   &none
  &none  &kp GRAVE  &kp N1  &kp N2  &kp N3  &kp STAR  &kp MINUS     &none   &none   &none   &none   &none   &none   &none   &none  &kp DOT   &none   &none
  &none      &none   &none   &none   &none               &kp N0  &kp SEMI   &none   &none   &none   &none           &none   &none    &none   &none   &none
            >;
        };

        layer_nav {
            bindings = <
  &none     &none      &none     &none      &none                                                                                  &none         &none         &none        &none   &none
  &none     &none      &none     &none      &none   &none                                                            &none         &none         &none         &none        &none   &none
  &none     &none      &none     &none      &none   &none                                                       &kp K_COPY    &kp K_UNDO    &kp K_REDO     &kp K_CUT  &kp K_PASTE   &none
  &none  &kp LALT  &kp LCTRL  &kp LGUI  &kp LSHFT   &none                                                         &kp LEFT      &kp DOWN        &kp UP     &kp RIGHT   &caps_word   &none
  &none     &none      &none     &none      &none   &none   &none   &none   &none   &none    &none   &kp DEL  &select_word  &extend_word  &select_line  &extend_line   &caps_word   &none
  &none     &none      &none     &none      &none           &none   &none   &none   &none  &kp RET  &kp BSPC                       &none         &none         &none        &none   &none
            >;
        };

        layer_morenav {
            bindings = <
  &none     &none      &none     &none      &none                                                                              &none       &none      &none        &none   &none
  &none     &none      &none     &none      &none   &none                                                          &none       &none       &none      &none        &none   &none
  &none     &none      &none     &none      &none   &none                                                     &kp K_COPY  &kp K_UNDO  &kp K_REDO  &kp K_CUT  &kp K_PASTE   &none
  &none  &kp LALT  &kp LCTRL  &kp LGUI  &kp LSHFT   &none                                                       &kp LEFT    &kp DOWN      &kp UP  &kp RIGHT   &caps_word   &none
  &none     &none      &none     &none      &none   &none   &none   &none   &none   &none    &none   &kp DEL    &kp HOME   &kp PG_DN   &kp PG_UP    &kp END   &caps_word   &none
  &none     &none      &none     &none      &none           &none   &none   &none   &none  &kp RET  &kp BSPC                   &none       &none      &none        &none   &none
            >;
        };

        layer_media {
            bindings = <
  &none   &none   &none   &none   &none                                                                                     &none         &none       &none        &none   &none
  &none   &none   &none   &none   &none   &none                                                               &none         &none         &none       &none        &none   &none
  &none   &none   &none   &none   &none   &none                                                          &kp K_COPY    &kp K_UNDO    &kp K_REDO   &kp K_CUT  &kp K_PASTE   &none
  &none   &none   &none   &none   &none   &none                                                          &kp C_PREV  &kp C_VOL_DN  &kp C_VOL_UP  &kp C_NEXT   &caps_word   &none
  &none   &none   &none   &none   &none   &none   &none   &none   &none   &none       &none  &kp C_MUTE       &bt_0         &bt_1         &bt_2       &bt_3   &caps_word   &none
  &none   &none   &none   &none   &none           &none   &none   &none   &none  &kp K_STOP    &kp C_PP                     &none         &none       &none        &none   &none
            >;
        };

        layer_Magic {
            bindings = <
  &bt BT_CLR            &none            &none            &none            &none                                                                                  &none   &none   &none   &none  &bt BT_CLR_ALL
       &none            &none            &none            &none            &none            &none                                                         &none   &none   &none   &none   &none           &none
       &none  &rgb_ug RGB_SPI  &rgb_ug RGB_SAI  &rgb_ug RGB_HUI  &rgb_ug RGB_BRI  &rgb_ug RGB_TOG                                                         &none   &none   &none   &none   &none           &none
 &bootloader  &rgb_ug RGB_SPD  &rgb_ug RGB_SAD  &rgb_ug RGB_HUD  &rgb_ug RGB_BRD  &rgb_ug RGB_EFF                                                         &none   &none   &none   &none   &none     &bootloader
  &sys_reset            &none            &none            &none            &none            &none   &bt_2   &bt_3         &none   &none   &none   &none   &none   &none   &none   &none   &none      &sys_reset
       &none            &none            &none            &none            &none                    &bt_0   &bt_1  &out OUT_USB   &none   &none   &none           &none   &none   &none   &none           &none
            >;
        };

    };
};

